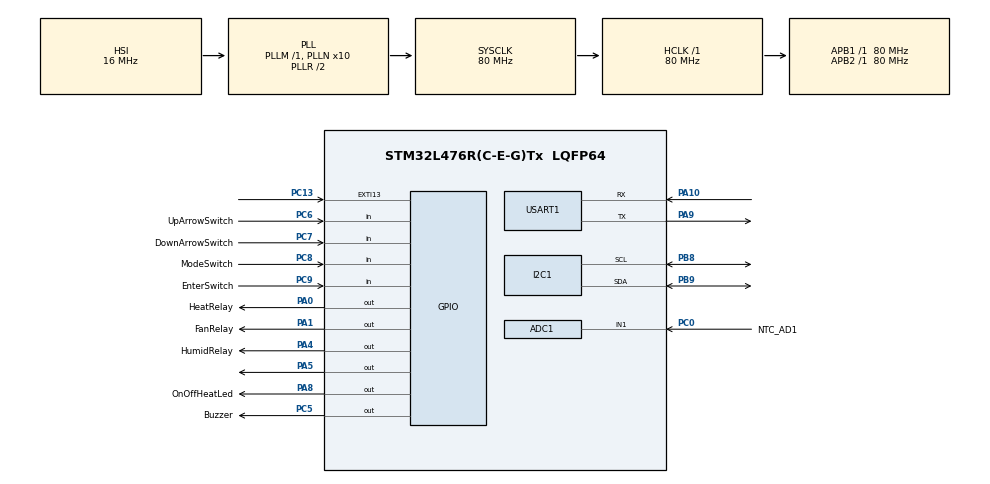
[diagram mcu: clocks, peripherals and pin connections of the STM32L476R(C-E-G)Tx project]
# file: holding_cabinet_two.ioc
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ADC1.Channel-1\#ChannelRegularConversion=ADC_CHANNEL_1
ADC1.NbrOfConversionFlag=1
ADC1.OffsetNumber-1\#ChannelRegularConversion=ADC_OFFSET_NONE
ADC1.Rank-1\#ChannelRegularConversion=1
ADC1.SamplingTime-1\#ChannelRegularConversion=ADC_SAMPLETIME_247CYCLES_5
ADC1.master=1
FREERTOS.Queues01=qSenseToHeat,1,uint16_t,0,Dynamic,NULL,NULL;qInputToDisplay,8,uint8_t,0,Dynamic,NULL,NULL;qDisplayToHeat,4,HeatCommand_t,0,Dynamic,NULL,NULL;qHeatToDisplay,1,HeatStatus_t,0,Dynamic,NULL,NULL;qUartRxToConnect,128,uint8_t,0,Dynamic,NULL,NULL;qDisplayToConnect,4,uint8_t,0,Dynamic,NULL,NULL
FREERTOS.Tasks01=SenseTask,24,128,StartSenseTask,Default,NULL,Dynamic,NULL,NULL;DisplayTask,8,256,StartDisplayTask,Default,NULL,Dynamic,NULL,NULL;ConnectTask,24,128,StartConnectTask,Default,NULL,Dynamic,NULL,NULL;HeatTask,43,128,StartHeatTask,Default,NULL,Dynamic,NULL,NULL;InputTask,32,128,StartInputTask,Default,NULL,Dynamic,NULL,NULL
FREERTOS.configTOTAL_HEAP_SIZE=8192
I2C1.Timing=0x10D19CE4
Mcu.Family=STM32L4
Mcu.Name=STM32L476R(C-E-G)Tx
Mcu.Package=LQFP64
NUCLEO-L476RG.BUTTON=1
NUCLEO-L476RG.LD2=true
NVIC.EXTI15_10_IRQn=true\:5\:0\:false\:false\:true\:true\:false\:true\:true
NVIC.PriorityGroup=NVIC_PRIORITYGROUP_4
NVIC.TIM6_DAC_IRQn=true\:15\:0\:false\:false\:true\:false\:false\:true\:true
NVIC.TimeBase=TIM6_DAC_IRQn
NVIC.TimeBaseIP=TIM6
NVIC.USART1_IRQn=true\:5\:0\:false\:false\:true\:true\:true\:true\:true
PA0.GPIO_Label=HeatRelay
PA0.PinState=GPIO_PIN_SET
PA0.Signal=GPIO_Output
PA1.GPIO_Label=FanRelay
PA1.PinState=GPIO_PIN_SET
PA1.Signal=GPIO_Output
PA10.Mode=Asynchronous
PA10.Signal=USART1_RX
PA13\ (JTMS-SWDIO).GPIO_Label=TMS
PA13\ (JTMS-SWDIO).Mode=Serial_Wire
PA13\ (JTMS-SWDIO).Signal=SYS_JTMS-SWDIO
PA14\ (JTCK-SWCLK).GPIO_Label=TCK
PA14\ (JTCK-SWCLK).Mode=Serial_Wire
PA14\ (JTCK-SWCLK).Signal=SYS_JTCK-SWCLK
PA4.GPIO_Label=HumidRelay
PA4.PinState=GPIO_PIN_SET
PA4.Signal=GPIO_Output
PA5.Signal=GPIO_Output
PA8.GPIO_Label=OnOffHeatLed
PA8.Signal=GPIO_Output
PA9.Mode=Asynchronous
PA9.Signal=USART1_TX
PB3\ (JTDO-TRACESWO).GPIO_Label=SWO
PB3\ (JTDO-TRACESWO).Signal=SYS_JTDO-SWO
PB8.Mode=I2C
PB8.Signal=I2C1_SCL
PB9.Mode=I2C
PB9.Signal=I2C1_SDA
PC0.GPIO_Label=NTC_AD1
PC0.Signal=ADCx_IN1
PC13.Signal=GPXTI13
PC14-OSC32_IN\ (PC14).Signal=RCC_OSC32_IN
PC15-OSC32_OUT\ (PC15).Signal=RCC_OSC32_OUT
PC5.GPIO_Label=Buzzer
PC5.Signal=GPIO_Output
PC6.GPIO_Label=UpArrowSwitch
PC6.Signal=GPIO_Input
PC7.GPIO_Label=DownArrowSwitch
PC7.Signal=GPIO_Input
PC8.GPIO_Label=ModeSwitch
PC8.Signal=GPIO_Input
PC9.GPIO_Label=EnterSwitch
PC9.Signal=GPIO_Input
PH0-OSC_IN\ (PH0).Signal=RCC_OSC_IN
PH1-OSC_OUT\ (PH1).Signal=RCC_OSC_OUT
ProjectManager.HeapSize=0x200
ProjectManager.StackSize=0x400
ProjectManager.TargetToolchain=CMake
RCC.ADCFreq_Value=64000000
RCC.AHBFreq_Value=80000000
RCC.APB1Freq_Value=80000000
RCC.APB1TimFreq_Value=80000000
RCC.APB2Freq_Value=80000000
RCC.APB2TimFreq_Value=80000000
RCC.CortexFreq_Value=80000000
RCC.HCLKFreq_Value=80000000
RCC.HSE_VALUE=8000000
RCC.HSI_VALUE=16000000
RCC.LSE_VALUE=32768
RCC.MSI_VALUE=4000000
RCC.PLLN=10
RCC.PLLSourceVirtual=RCC_PLLSOURCE_HSI
RCC.PREFETCH_ENABLE=1
RCC.SYSCLKFreq_VALUE=80000000
RCC.SYSCLKSource=RCC_SYSCLKSOURCE_PLLCLK
RCC.USBFreq_Value=64000000
RCC.VCOOutputFreq_Value=160000000
SH.ADCx_IN1.0=ADC1_IN1,IN1-Single-Ended
USART1.VirtualMode-Asynchronous=VM_ASYNC
VP_FREERTOS_VS_CMSIS_V2.Mode=CMSIS_V2
VP_NUCLEO-L476RG_VS_BSP_COMMON.Mode=COMMON
VP_SYS_VS_tim6.Mode=TIM6
board=NUCLEO-L476RG

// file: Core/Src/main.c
/* USER CODE BEGIN Header */
/**
 ******************************************************************************
 * @file           : main.c
 * @brief          : Main program body
 ******************************************************************************
 * @attention
 *
 * Copyright (c) 2026 STMicroelectronics.
 * All rights reserved.
 *
 * This software is licensed under terms that can be found in the LICENSE file
 * in the root directory of this software component.
 * If no LICENSE file comes with this software, it is provided AS-IS.
 *
 ******************************************************************************
 */
/* USER CODE END Header */
#include "main.h"
#include "cmsis_os.h"

/* USER CODE BEGIN Includes */

#include "app_types.h"
#include "connect_task.h"
#include "control_task.h"
#include "display_task.h"
#include "input_task.h"
#include "sensor_task.h"

/* USER CODE END Includes */

/* USER CODE BEGIN PD */
/* Only run one test at a time*/
#define HW_BRINGUP_TEST_LED 0 /* 1 = isolated LED blink test only */
#define HW_BRINGUP_TEST_SWITCHES                                               \
  0 /* 1 = run switch test, bypass RTOS. Set to 0 to resume normal startup. */
#define HW_BRINGUP_TEST_I2C_SCAN                                               \
  0 /* 1 = run I2C scan test, bypass RTOS. Set to 0 to resume normal startup.  \
     */
#define HW_BRINGUP_TEST_LCD_MESSAGE                                            \
  0 /* 1 = run LCD message test, bypass RTOS. Set to 0 to resume normal        \
       startup. */
#define HW_BRINGUP_TEST_RELAYS                                                 \
  0 /* 1 = run relay test, bypass RTOS. Set to 0 to resume normal startup. */
#define HW_BRINGUP_TEST_NTC                                                    \
  0 /* 1 = run NTC sensor test, bypass RTOS. Set to 0 to resume normal         \
       startup. */
#define HW_BRINGUP_TEST_UART_LOOPBACK                                          \
  0 /* 1 = run UART loopback test, bypass RTOS. Set to 0 to resume normal      \
       startup. */

#if HW_BRINGUP_TEST_LED + HW_BRINGUP_TEST_SWITCHES +                           \
        HW_BRINGUP_TEST_I2C_SCAN + HW_BRINGUP_TEST_LCD_MESSAGE +               \
        HW_BRINGUP_TEST_RELAYS + HW_BRINGUP_TEST_NTC +                         \
        HW_BRINGUP_TEST_UART_LOOPBACK >                                        \
    1
#error "Only one HW_BRINGUP_TEST_* flag may be enabled at a time."
#endif

/* USER CODE END PD */

ADC_HandleTypeDef hadc1;

I2C_HandleTypeDef hi2c1;

UART_HandleTypeDef huart1;

/* Definitions for SenseTask */
osThreadId_t SenseTaskHandle;
const osThreadAttr_t SenseTask_attributes = {
  .name = "SenseTask",
  .stack_size = 128 * 4,
  .priority = (osPriority_t) osPriorityNormal,
};
/* Definitions for DisplayTask */
osThreadId_t DisplayTaskHandle;
const osThreadAttr_t DisplayTask_attributes = {
  .name = "DisplayTask",
  .stack_size = 256 * 4,
  .priority = (osPriority_t) osPriorityLow,
};
/* Definitions for ConnectTask */
osThreadId_t ConnectTaskHandle;
const osThreadAttr_t ConnectTask_attributes = {
  .name = "ConnectTask",
  .stack_size = 128 * 4,
  .priority = (osPriority_t) osPriorityNormal,
};
/* Definitions for HeatTask */
osThreadId_t HeatTaskHandle;
const osThreadAttr_t HeatTask_attributes = {
  .name = "HeatTask",
  .stack_size = 128 * 4,
  .priority = (osPriority_t) osPriorityHigh3,
};
/* Definitions for InputTask */
osThreadId_t InputTaskHandle;
const osThreadAttr_t InputTask_attributes = {
  .name = "InputTask",
  .stack_size = 128 * 4,
  .priority = (osPriority_t) osPriorityAboveNormal,
};
/* Definitions for qSenseToHeat */
osMessageQueueId_t qSenseToHeatHandle;
const osMessageQueueAttr_t qSenseToHeat_attributes = {
  .name = "qSenseToHeat"
};
/* Definitions for qInputToDisplay */
osMessageQueueId_t qInputToDisplayHandle;
const osMessageQueueAttr_t qInputToDisplay_attributes = {
  .name = "qInputToDisplay"
};
/* Definitions for qDisplayToHeat */
osMessageQueueId_t qDisplayToHeatHandle;
const osMessageQueueAttr_t qDisplayToHeat_attributes = {
  .name = "qDisplayToHeat"
};
/* Definitions for qHeatToDisplay */
osMessageQueueId_t qHeatToDisplayHandle;
const osMessageQueueAttr_t qHeatToDisplay_attributes = {
  .name = "qHeatToDisplay"
};
/* Definitions for qUartRxToConnect */
osMessageQueueId_t qUartRxToConnectHandle;
const osMessageQueueAttr_t qUartRxToConnect_attributes = {
  .name = "qUartRxToConnect"
};
/* Definitions for qDisplayToConnect */
osMessageQueueId_t qDisplayToConnectHandle;
const osMessageQueueAttr_t qDisplayToConnect_attributes = {
  .name = "qDisplayToConnect"
};
/* USER CODE BEGIN PV */
volatile uint8_t g_lastInputEvent = 0u;
volatile uint32_t g_inputEventCount = 0u;

#if HW_BRINGUP_TEST_SWITCHES
volatile uint8_t g_upPressed = 0;
volatile uint8_t g_downPressed = 0;
volatile uint8_t g_modePressed = 0;
volatile uint8_t g_enterPressed = 0;
#endif

#if HW_BRINGUP_TEST_I2C_SCAN
volatile uint8_t g_i2cFoundAddresses[16] = {0};
volatile uint8_t g_i2cFoundCount = 0;
#endif

#if HW_BRINGUP_TEST_RELAYS
volatile uint8_t g_heatRelayOn = 0;
volatile uint8_t g_fanRelayOn = 0;
volatile uint8_t g_humidRelayOn = 0;
#endif

#if HW_BRINGUP_TEST_NTC
volatile uint32_t g_ntcRawAdc = 0;
volatile uint32_t g_ntcResistanceOhms = 0;
volatile float g_ntcTempC = 0.0f;
volatile float g_ntcTempF = 0.0f;
volatile uint8_t g_ntcSensorFault = 0; /* 1 = open circuit / disconnected */
#endif

#if HW_BRINGUP_TEST_UART_LOOPBACK
volatile uint8_t g_uartTxByte = 0;
volatile uint8_t g_uartRxByte = 0;
volatile uint8_t g_uartLoopbackOk = 0;
volatile uint32_t g_uartRxErrorCount = 0;
volatile HAL_StatusTypeDef g_uartTxResult;
volatile HAL_StatusTypeDef g_uartRxResult;
#endif

/* USER CODE END PV */

void SystemClock_Config(void);
static void MX_GPIO_Init(void);
static void MX_ADC1_Init(void);
static void MX_I2C1_Init(void);
static void MX_USART1_UART_Init(void);
void StartSenseTask(void *argument);
void StartDisplayTask(void *argument);
void StartConnectTask(void *argument);
void StartHeatTask(void *argument);
void StartInputTask(void *argument);

/* USER CODE BEGIN PFP */
#if HW_BRINGUP_TEST_LCD_MESSAGE
static void lcd_i2c_write(uint8_t data);
static void lcd_pulse_enable(uint8_t data);
static void lcd_write4(uint8_t nibble, uint8_t rs);
static void lcd_send(uint8_t value, uint8_t rs);
static void lcd_command(uint8_t cmd);
static void lcd_data(uint8_t data);
static void lcd_init(void);
static void lcd_set_cursor(uint8_t col, uint8_t row);
static void lcd_print(const char *str);
static void lcd_backlight_on(void);
static void lcd_backlight_off(void);
#endif

#if HW_BRINGUP_TEST_NTC
static float ntc_resistance_to_celsius(float r_ohms);
#endif
/* USER CODE END PFP */

int main(void)
{

  /* MCU Configuration--------------------------------------------------------*/

  /* Reset of all peripherals, Initializes the Flash interface and the Systick. */
  HAL_Init();

  /* Configure the system clock */
  SystemClock_Config();

  /* Initialize all configured peripherals */
  MX_GPIO_Init();
  MX_ADC1_Init();
  MX_I2C1_Init();
  MX_USART1_UART_Init();
  /* USER CODE BEGIN 2 */
  if (HAL_ADCEx_Calibration_Start(&hadc1, ADC_SINGLE_ENDED) != HAL_OK) {
    Error_Handler();
  }

#if HW_BRINGUP_TEST_LED
  while (1) {
    HAL_GPIO_WritePin(OnOffLed_GPIO_Port, OnOffLed_Pin, GPIO_PIN_SET);
    HAL_Delay(1000);
    HAL_GPIO_WritePin(OnOffLed_GPIO_Port, OnOffLed_Pin, GPIO_PIN_RESET);
    HAL_Delay(1000);
  }
#endif

#if HW_BRINGUP_TEST_SWITCHES
  while (1) {
    g_upPressed = (HAL_GPIO_ReadPin(UpArrowSwitch_GPIO_Port,
                                    UpArrowSwitch_Pin) == GPIO_PIN_RESET);
    g_downPressed = (HAL_GPIO_ReadPin(DownArrowSwitch_GPIO_Port,
                                      DownArrowSwitch_Pin) == GPIO_PIN_RESET);
    g_modePressed = (HAL_GPIO_ReadPin(ModeSwitch_GPIO_Port, ModeSwitch_Pin) ==
                     GPIO_PIN_RESET);
    g_enterPressed = (HAL_GPIO_ReadPin(EnterSwitch_GPIO_Port,
                                       EnterSwitch_Pin) == GPIO_PIN_RESET);

    if (g_upPressed || g_downPressed || g_modePressed || g_enterPressed) {
      HAL_GPIO_WritePin(OnOffLed_GPIO_Port, OnOffLed_Pin,
                        GPIO_PIN_SET); /* any press -> LED on */
    } else {
      HAL_GPIO_WritePin(OnOffLed_GPIO_Port, OnOffLed_Pin,
                        GPIO_PIN_RESET); /* nothing pressed -> LED off */
    }
  }
#endif

#if HW_BRINGUP_TEST_I2C_SCAN
  for (uint8_t addr = 0x08; addr <= 0x77; addr++) {
    if (HAL_I2C_IsDeviceReady(&hi2c1, (uint16_t)(addr << 1), 2, 5) == HAL_OK) {
      if (g_i2cFoundCount < 16) {
        g_i2cFoundAddresses[g_i2cFoundCount] = addr;
        g_i2cFoundCount++;
      }
    }
  }

  while (1) {
    /* Halt here — inspect g_i2cFoundAddresses / g_i2cFoundCount in Live Watch.
     */
  }
#endif

#if HW_BRINGUP_TEST_LCD_MESSAGE
  lcd_init();
  lcd_set_cursor(0, 0);
  lcd_print("Proofing Oven");
  lcd_set_cursor(0, 1);
  lcd_print("LCD Test OK");

  while (1) {
    lcd_backlight_on();
    HAL_Delay(1000);
    lcd_backlight_off();
    HAL_Delay(1000);
  }
#endif

#if HW_BRINGUP_TEST_RELAYS
  while (1) {
    uint8_t upPressed = (HAL_GPIO_ReadPin(UpArrowSwitch_GPIO_Port,
                                          UpArrowSwitch_Pin) == GPIO_PIN_RESET);
    uint8_t downPressed =
        (HAL_GPIO_ReadPin(DownArrowSwitch_GPIO_Port, DownArrowSwitch_Pin) ==
         GPIO_PIN_RESET);
    uint8_t modePressed = (HAL_GPIO_ReadPin(ModeSwitch_GPIO_Port,
                                            ModeSwitch_Pin) == GPIO_PIN_RESET);
    uint8_t enterPressed =
        (HAL_GPIO_ReadPin(EnterSwitch_GPIO_Port, EnterSwitch_Pin) ==
         GPIO_PIN_RESET);

    if (enterPressed) {
      /* Panic override: force everything off, ignore other switches this pass.
       */
      upPressed = 0;
      downPressed = 0;
      modePressed = 0;
    }

    g_heatRelayOn = upPressed;
    g_fanRelayOn = downPressed;
    g_humidRelayOn = modePressed;

    HAL_GPIO_WritePin(HeatRelay_GPIO_Port, HeatRelay_Pin,
                      g_heatRelayOn ? GPIO_PIN_RESET : GPIO_PIN_SET);
    HAL_GPIO_WritePin(FanRelay_GPIO_Port, FanRelay_Pin,
                      g_fanRelayOn ? GPIO_PIN_RESET : GPIO_PIN_SET);
    HAL_GPIO_WritePin(HumidRelay_GPIO_Port, HumidRelay_Pin,
                      g_humidRelayOn ? GPIO_PIN_RESET : GPIO_PIN_SET);
  }
#endif

#if HW_BRINGUP_TEST_NTC
  while (1) {
    HAL_ADC_Start(&hadc1);
    HAL_ADC_PollForConversion(&hadc1, 10);
    g_ntcRawAdc = HAL_ADC_GetValue(&hadc1);
    HAL_ADC_Stop(&hadc1);

    if (g_ntcRawAdc >=
        4090) /* near ADC_MAX -> open circuit / disconnected sensor */
    {
      g_ntcSensorFault = 1;
    } else {
      g_ntcSensorFault = 0;

      /* R_ntc = R1 * ADC / (ADC_MAX - ADC), R1 = 10K, ADC_MAX = 4095 for 12-bit
       */
      g_ntcResistanceOhms = (uint32_t)(10000.0f * (float)g_ntcRawAdc /
                                       (float)(4095 - g_ntcRawAdc));

      g_ntcTempC = ntc_resistance_to_celsius((float)g_ntcResistanceOhms);
      g_ntcTempF = (g_ntcTempC * 9.0f / 5.0f) + 32.0f;
    }

    HAL_Delay(500);
  }
#endif

#if HW_BRINGUP_TEST_UART_LOOPBACK
  while (1) {
    g_uartTxByte = 0x55;

    g_uartTxResult =
        HAL_UART_Transmit(&huart1, (uint8_t *)&g_uartTxByte, 1, 100);
    g_uartRxResult =
        HAL_UART_Receive(&huart1, (uint8_t *)&g_uartRxByte, 1, 100);

    if (g_uartRxResult == HAL_OK) {
      g_uartLoopbackOk = (g_uartRxByte == g_uartTxByte);
    } else {
      g_uartLoopbackOk = 0;
      g_uartRxErrorCount++;
    }

    HAL_Delay(500);
  }
#endif

  /* USER CODE END 2 */

  /* Init scheduler */
  osKernelInitialize();

  /* Create the queue(s) */
  /* creation of qSenseToHeat */
  qSenseToHeatHandle = osMessageQueueNew (1, sizeof(uint16_t), &qSenseToHeat_attributes);

  /* creation of qInputToDisplay */
  qInputToDisplayHandle = osMessageQueueNew (8, sizeof(uint8_t), &qInputToDisplay_attributes);

  /* creation of qDisplayToHeat */
  qDisplayToHeatHandle = osMessageQueueNew (4, sizeof(HeatCommand_t), &qDisplayToHeat_attributes);

  /* creation of qHeatToDisplay */
  qHeatToDisplayHandle = osMessageQueueNew (1, sizeof(HeatStatus_t), &qHeatToDisplay_attributes);

  /* creation of qUartRxToConnect */
  qUartRxToConnectHandle = osMessageQueueNew (128, sizeof(uint8_t), &qUartRxToConnect_attributes);

  /* creation of qDisplayToConnect */
  qDisplayToConnectHandle = osMessageQueueNew (4, sizeof(uint8_t), &qDisplayToConnect_attributes);

  /* Create the thread(s) */
  /* creation of SenseTask */
  SenseTaskHandle = osThreadNew(StartSenseTask, NULL, &SenseTask_attributes);

  /* creation of DisplayTask */
  DisplayTaskHandle = osThreadNew(StartDisplayTask, NULL, &DisplayTask_attributes);

  /* creation of ConnectTask */
  ConnectTaskHandle = osThreadNew(StartConnectTask, NULL, &ConnectTask_attributes);

  /* creation of HeatTask */
  HeatTaskHandle = osThreadNew(StartHeatTask, NULL, &HeatTask_attributes);

  /* creation of InputTask */
  InputTaskHandle = osThreadNew(StartInputTask, NULL, &InputTask_attributes);

  /* Initialize leds */
  BSP_LED_Init(LED_GREEN);

  /* Initialize USER push-button, will be used to trigger an interrupt each time it's pressed.*/
  BSP_PB_Init(BUTTON_USER, BUTTON_MODE_EXTI);

  /* Start scheduler */
  osKernelStart();

  /* We should never get here as control is now taken by the scheduler */

  /* Infinite loop */
  while (1) {

  }
}

void SystemClock_Config(void)
{
  RCC_OscInitTypeDef RCC_OscInitStruct = {0};
  RCC_ClkInitTypeDef RCC_ClkInitStruct = {0};

  /** Configure the main internal regulator output voltage
  */
  if (HAL_PWREx_ControlVoltageScaling(PWR_REGULATOR_VOLTAGE_SCALE1) != HAL_OK)
  {
    Error_Handler();
  }

  /** Initializes the RCC Oscillators according to the specified parameters
  * in the RCC_OscInitTypeDef structure.
  */
  RCC_OscInitStruct.OscillatorType = RCC_OSCILLATORTYPE_HSI;
  RCC_OscInitStruct.HSIState = RCC_HSI_ON;
  RCC_OscInitStruct.HSICalibrationValue = RCC_HSICALIBRATION_DEFAULT;
  RCC_OscInitStruct.PLL.PLLState = RCC_PLL_ON;
  RCC_OscInitStruct.PLL.PLLSource = RCC_PLLSOURCE_HSI;
  RCC_OscInitStruct.PLL.PLLM = 1;
  RCC_OscInitStruct.PLL.PLLN = 10;
  RCC_OscInitStruct.PLL.PLLP = RCC_PLLP_DIV7;
  RCC_OscInitStruct.PLL.PLLQ = RCC_PLLQ_DIV2;
  RCC_OscInitStruct.PLL.PLLR = RCC_PLLR_DIV2;
  if (HAL_RCC_OscConfig(&RCC_OscInitStruct) != HAL_OK)
  {
    Error_Handler();
  }

  /** Initializes the CPU, AHB and APB buses clocks
  */
  RCC_ClkInitStruct.ClockType = RCC_CLOCKTYPE_HCLK|RCC_CLOCKTYPE_SYSCLK
                              |RCC_CLOCKTYPE_PCLK1|RCC_CLOCKTYPE_PCLK2;
  RCC_ClkInitStruct.SYSCLKSource = RCC_SYSCLKSOURCE_PLLCLK;
  RCC_ClkInitStruct.AHBCLKDivider = RCC_SYSCLK_DIV1;
  RCC_ClkInitStruct.APB1CLKDivider = RCC_HCLK_DIV1;
  RCC_ClkInitStruct.APB2CLKDivider = RCC_HCLK_DIV1;

  if (HAL_RCC_ClockConfig(&RCC_ClkInitStruct, FLASH_LATENCY_4) != HAL_OK)
  {
    Error_Handler();
  }
}

static void MX_ADC1_Init(void)
{

  ADC_MultiModeTypeDef multimode = {0};
  ADC_ChannelConfTypeDef sConfig = {0};

  /** Common config
  */
  hadc1.Instance = ADC1;
  hadc1.Init.ClockPrescaler = ADC_CLOCK_ASYNC_DIV1;
  hadc1.Init.Resolution = ADC_RESOLUTION_12B;
  hadc1.Init.DataAlign = ADC_DATAALIGN_RIGHT;
  hadc1.Init.ScanConvMode = ADC_SCAN_DISABLE;
  hadc1.Init.EOCSelection = ADC_EOC_SINGLE_CONV;
  hadc1.Init.LowPowerAutoWait = DISABLE;
  hadc1.Init.ContinuousConvMode = DISABLE;
  hadc1.Init.NbrOfConversion = 1;
  hadc1.Init.DiscontinuousConvMode = DISABLE;
  hadc1.Init.ExternalTrigConv = ADC_SOFTWARE_START;
  hadc1.Init.ExternalTrigConvEdge = ADC_EXTERNALTRIGCONVEDGE_NONE;
  hadc1.Init.DMAContinuousRequests = DISABLE;
  hadc1.Init.Overrun = ADC_OVR_DATA_PRESERVED;
  hadc1.Init.OversamplingMode = DISABLE;
  if (HAL_ADC_Init(&hadc1) != HAL_OK)
  {
    Error_Handler();
  }

  /** Configure the ADC multi-mode
  */
  multimode.Mode = ADC_MODE_INDEPENDENT;
  if (HAL_ADCEx_MultiModeConfigChannel(&hadc1, &multimode) != HAL_OK)
  {
    Error_Handler();
  }

  /** Configure Regular Channel
  */
  sConfig.Channel = ADC_CHANNEL_1;
  sConfig.Rank = ADC_REGULAR_RANK_1;
  sConfig.SamplingTime = ADC_SAMPLETIME_247CYCLES_5;
  sConfig.SingleDiff = ADC_SINGLE_ENDED;
  sConfig.OffsetNumber = ADC_OFFSET_NONE;
  sConfig.Offset = 0;
  if (HAL_ADC_ConfigChannel(&hadc1, &sConfig) != HAL_OK)
  {
    Error_Handler();
  }

}

static void MX_I2C1_Init(void)
{

  hi2c1.Instance = I2C1;
  hi2c1.Init.Timing = 0x10D19CE4;
  hi2c1.Init.OwnAddress1 = 0;
  hi2c1.Init.AddressingMode = I2C_ADDRESSINGMODE_7BIT;
  hi2c1.Init.DualAddressMode = I2C_DUALADDRESS_DISABLE;
  hi2c1.Init.OwnAddress2 = 0;
  hi2c1.Init.OwnAddress2Masks = I2C_OA2_NOMASK;
  hi2c1.Init.GeneralCallMode = I2C_GENERALCALL_DISABLE;
  hi2c1.Init.NoStretchMode = I2C_NOSTRETCH_DISABLE;
  if (HAL_I2C_Init(&hi2c1) != HAL_OK)
  {
    Error_Handler();
  }

  /** Configure Analogue filter
  */
  if (HAL_I2CEx_ConfigAnalogFilter(&hi2c1, I2C_ANALOGFILTER_ENABLE) != HAL_OK)
  {
    Error_Handler();
  }

  /** Configure Digital filter
  */
  if (HAL_I2CEx_ConfigDigitalFilter(&hi2c1, 0) != HAL_OK)
  {
    Error_Handler();
  }

}

static void MX_USART1_UART_Init(void)
{

  huart1.Instance = USART1;
  huart1.Init.BaudRate = 115200;
  huart1.Init.WordLength = UART_WORDLENGTH_8B;
  huart1.Init.StopBits = UART_STOPBITS_1;
  huart1.Init.Parity = UART_PARITY_NONE;
  huart1.Init.Mode = UART_MODE_TX_RX;
  huart1.Init.HwFlowCtl = UART_HWCONTROL_NONE;
  huart1.Init.OverSampling = UART_OVERSAMPLING_16;
  huart1.Init.OneBitSampling = UART_ONE_BIT_SAMPLE_DISABLE;
  huart1.AdvancedInit.AdvFeatureInit = UART_ADVFEATURE_NO_INIT;
  if (HAL_UART_Init(&huart1) != HAL_OK)
  {
    Error_Handler();
  }

}

static void MX_GPIO_Init(void)
{
  GPIO_InitTypeDef GPIO_InitStruct = {0};

  /* GPIO Ports Clock Enable */
  __HAL_RCC_GPIOC_CLK_ENABLE();
  __HAL_RCC_GPIOH_CLK_ENABLE();
  __HAL_RCC_GPIOA_CLK_ENABLE();
  __HAL_RCC_GPIOB_CLK_ENABLE();

  /*Configure GPIO pin Output Level */
  HAL_GPIO_WritePin(GPIOA, HeatRelay_Pin|FanRelay_Pin|HumidRelay_Pin, GPIO_PIN_SET);

  /*Configure GPIO pin Output Level */
  HAL_GPIO_WritePin(Buzzer_GPIO_Port, Buzzer_Pin, GPIO_PIN_RESET);

  /*Configure GPIO pin Output Level */
  HAL_GPIO_WritePin(OnOffHeatLed_GPIO_Port, OnOffHeatLed_Pin, GPIO_PIN_RESET);

  /*Configure GPIO pins : HeatRelay_Pin FanRelay_Pin HumidRelay_Pin OnOffHeatLed_Pin */
  GPIO_InitStruct.Pin = HeatRelay_Pin|FanRelay_Pin|HumidRelay_Pin|OnOffHeatLed_Pin;
  GPIO_InitStruct.Mode = GPIO_MODE_OUTPUT_PP;
  GPIO_InitStruct.Pull = GPIO_NOPULL;
  GPIO_InitStruct.Speed = GPIO_SPEED_FREQ_LOW;
  HAL_GPIO_Init(GPIOA, &GPIO_InitStruct);

  /*Configure GPIO pin : Buzzer_Pin */
  GPIO_InitStruct.Pin = Buzzer_Pin;
  GPIO_InitStruct.Mode = GPIO_MODE_OUTPUT_PP;
  GPIO_InitStruct.Pull = GPIO_NOPULL;
  GPIO_InitStruct.Speed = GPIO_SPEED_FREQ_LOW;
  HAL_GPIO_Init(Buzzer_GPIO_Port, &GPIO_InitStruct);

  /*Configure GPIO pins : UpArrowSwitch_Pin DownArrowSwitch_Pin ModeSwitch_Pin EnterSwitch_Pin */
  GPIO_InitStruct.Pin = UpArrowSwitch_Pin|DownArrowSwitch_Pin|ModeSwitch_Pin|EnterSwitch_Pin;
  GPIO_InitStruct.Mode = GPIO_MODE_INPUT;
  GPIO_InitStruct.Pull = GPIO_NOPULL;
  HAL_GPIO_Init(GPIOC, &GPIO_InitStruct);

  /* USER CODE BEGIN MX_GPIO_Init_2 */

  /* Relay PCBA is active-low (opto-isolated, IN=LOW energizes the coil).
     CubeMX's auto-generated Output Level default for these pins is
     GPIO_PIN_RESET (LOW), which energizes all three relays at boot.
     Force them HIGH (de-energized) here, immediately after HAL_GPIO_Init
     configures them as outputs, until this is fixed at the source by
     setting each pin's individual GPIO output level in the CubeMX
     Pinout view. */
  HAL_GPIO_WritePin(GPIOA, HeatRelay_Pin | FanRelay_Pin | HumidRelay_Pin,
                    GPIO_PIN_SET);

  /* USER CODE END MX_GPIO_Init_2 */
}

/* USER CODE BEGIN 4 */
#if HW_BRINGUP_TEST_LCD_MESSAGE

#define LCD_I2C_ADDR (0x27 << 1)
#define LCD_BACKLIGHT 0x08
#define LCD_ENABLE_BIT 0x04
#define LCD_RS_BIT 0x01

static void lcd_i2c_write(uint8_t data) {
  HAL_I2C_Master_Transmit(&hi2c1, LCD_I2C_ADDR, &data, 1, 10);
}

static void lcd_pulse_enable(uint8_t data) {
  lcd_i2c_write(data | LCD_ENABLE_BIT);
  HAL_Delay(1);
  lcd_i2c_write(data & (uint8_t)~LCD_ENABLE_BIT);
  HAL_Delay(1);
}

static uint8_t lcd_backlight_state =
    LCD_BACKLIGHT; /* current backlight bit, ORed into every write */

static void lcd_write4(uint8_t nibble, uint8_t rs) {
  uint8_t data = (uint8_t)((nibble << 4) | lcd_backlight_state | rs);
  lcd_i2c_write(data);
  lcd_pulse_enable(data);
}

static void lcd_send(uint8_t value, uint8_t rs) {
  lcd_write4((uint8_t)(value >> 4), rs);
  lcd_write4((uint8_t)(value & 0x0F), rs);
}

static void lcd_command(uint8_t cmd) { lcd_send(cmd, 0); }
static void lcd_data(uint8_t data) { lcd_send(data, LCD_RS_BIT); }

static void lcd_init(void) {
  HAL_Delay(50); /* power-on settle */

  lcd_write4(0x03, 0); /* force 8-bit mode, unknown-state reset sequence */
  HAL_Delay(5);
  lcd_write4(0x03, 0);
  HAL_Delay(1);
  lcd_write4(0x03, 0);
  HAL_Delay(1);

  lcd_write4(0x02, 0); /* switch to 4-bit mode */
  HAL_Delay(1);

  lcd_command(0x28); /* function set: 4-bit, 2 line, 5x8 font */
  lcd_command(0x0C); /* display ON, cursor off, blink off */
  lcd_command(0x06); /* entry mode: increment, no shift */
  lcd_command(0x01); /* clear display */
  HAL_Delay(2);      /* clear needs >1.6ms, generously covered */
}

static void lcd_set_cursor(uint8_t col, uint8_t row) {
  uint8_t rowOffset = (row == 0) ? 0x00 : 0x40;
  lcd_command((uint8_t)(0x80 | (col + rowOffset)));
}

static void lcd_print(const char *str) {
  while (*str) {
    lcd_data((uint8_t)(*str));
    str++;
  }
}

static void lcd_backlight_on(void) {
  lcd_backlight_state = LCD_BACKLIGHT;
  lcd_i2c_write(lcd_backlight_state); /* backlight is just a static output pin —
                                         no Enable pulse needed */
}

static void lcd_backlight_off(void) {
  lcd_backlight_state = 0x00;
  lcd_i2c_write(lcd_backlight_state);
}

#endif /* HW_BRINGUP_TEST_LCD_MESSAGE */

#if HW_BRINGUP_TEST_NTC
static float ntc_resistance_to_celsius(float r_ohms) {
  const float R25 = 10000.0f;
  const float BETA = 3950.0f;
  const float T25_K = 298.15f;

  float tempK = 1.0f / ((1.0f / T25_K) + (1.0f / BETA) * logf(r_ohms / R25));
  return tempK - 273.15f;
}
#endif

/* USER CODE END 4 */

void StartSenseTask(void *argument)
{
  /* USER CODE BEGIN 5 */
  SenseTask_Run(argument);
  /* USER CODE END 5 */
}

void StartDisplayTask(void *argument)
{
  /* USER CODE BEGIN StartDisplayTask */
  DisplayTask_Run(argument);
  /* USER CODE END StartDisplayTask */
}

void StartConnectTask(void *argument)
{
  /* USER CODE BEGIN StartConnectTask */
  ConnectTask_Run(argument);
  /* USER CODE END StartConnectTask */
}

void StartHeatTask(void *argument)
{
  /* USER CODE BEGIN StartHeatTask */
  HeatTask_Run(argument);
  /* USER CODE END StartHeatTask */
}

void StartInputTask(void *argument)
{
  /* USER CODE BEGIN StartInputTask */
  InputTask_Run(argument);
  /* USER CODE END StartInputTask */
}

void HAL_TIM_PeriodElapsedCallback(TIM_HandleTypeDef *htim)
{
  if (htim->Instance == TIM6)
  {
    HAL_IncTick();
  }
}

void Error_Handler(void)
{
  __disable_irq();
  while (1) {
  }
}
#ifdef USE_FULL_ASSERT
/**
  * @brief  Reports the name of the source file and the source line number
  *         where the assert_param error has occurred.
  * @param  file: pointer to the source file name
  * @param  line: assert_param error line source number
  * @retval None
  */
void assert_failed(uint8_t *file, uint32_t line)
{
  /* USER CODE BEGIN 6 */
  /* User can add his own implementation to report the file name and line
     number, ex: printf("Wrong parameters value: file %s on line %d\r\n", file,
     line) */
  /* USER CODE END 6 */
}
#endif /* USE_FULL_ASSERT */
